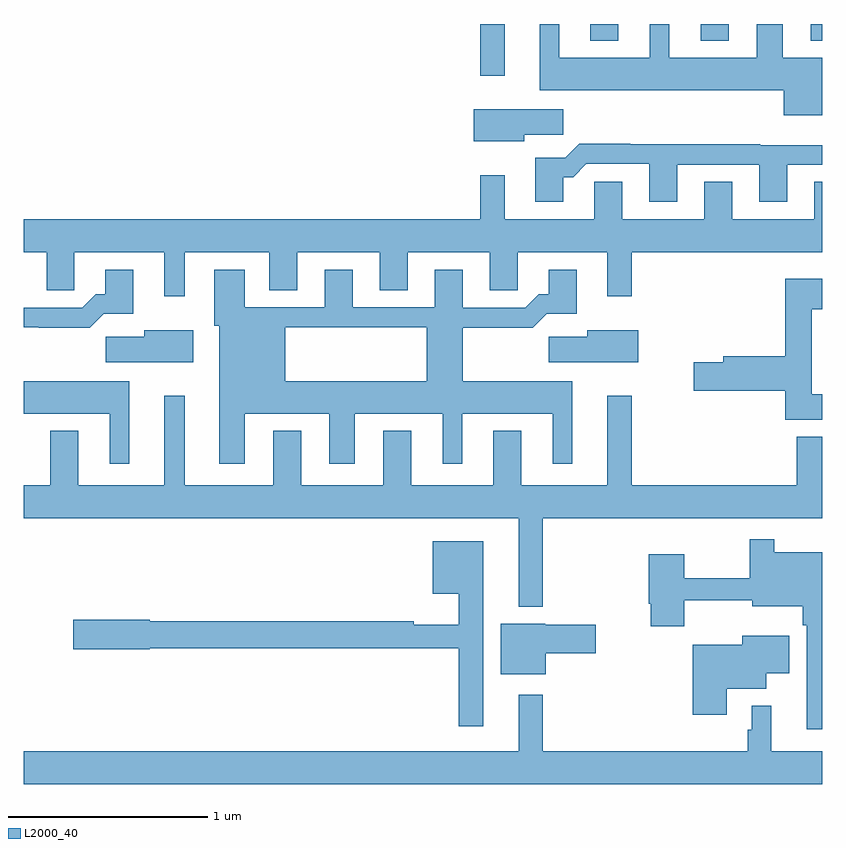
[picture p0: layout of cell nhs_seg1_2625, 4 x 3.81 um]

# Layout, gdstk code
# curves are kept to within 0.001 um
import gdstk
lib = gdstk.Library(unit=1e-6, precision=1e-09)
def R(c, l, rs):  # rectangles x0, y0, x1, y1
    for r in rs: c.add(gdstk.rectangle(r[:2], r[2:], *l))
def P(c, l, *ps):  # polygons
    for p in ps: c.add(gdstk.Polygon(p, *l))
L2000_40 = (2000, 40)

nhs_seg1_2625 = lib.new_cell('nhs_seg1_2625')
R(nhs_seg1_2625, L2000_40, [(255.288,561.939,255.409,562.199), (255.839,562.115,255.979,562.199), (256.391,562.115,256.531,562.199), (256.943,562.115,257,562.199)])
P(nhs_seg1_2625, L2000_40, [(257,562.03),(256.801,562.03),(256.801,562.199),(256.673,562.199),(256.673,562.03),(256.234,562.03),(256.234,562.199),(256.136,562.199),(256.136,562.03),(255.682,562.03),(255.682,562.199),(255.584,562.199),(255.584,561.866),(256.808,561.866),(256.808,561.743),(257,561.743)],
  [(255.508,561.643),(255.703,561.643),(255.703,561.772),(255.254,561.772),(255.254,561.611),(255.508,561.611)],
  [(255.703,561.431),(255.752,561.431),(255.819,561.498),(256.133,561.498),(256.133,561.309),(256.273,561.309),(256.273,561.495),(256.685,561.495),(256.685,561.309),(256.825,561.309),(256.825,561.495),(257,561.495),(257,561.592),(256.689,561.592),(256.689,561.596),(256.037,561.596),(256.037,561.599),(255.782,561.599),(255.712,561.529),(255.563,561.529),(255.563,561.309),(255.703,561.309)],
  [(253.807,561.056),(254.231,561.056),(254.231,560.866),(254.371,560.866),(254.371,561.056),(254.783,561.056),(254.783,560.866),(254.923,560.866),(254.923,561.056),(255.335,561.056),(255.335,560.866),(255.474,560.866),(255.474,561.056),(255.923,561.056),(255.923,560.835),(256.045,560.835),(256.045,561.056),(257,561.056),(257,561.41),(256.961,561.41),(256.961,561.22),(256.549,561.22),(256.549,561.41),(256.409,561.41),(256.409,561.22),(255.997,561.22),(255.997,561.41),(255.858,561.41),(255.858,561.22),(255.409,561.22),(255.409,561.442),(255.288,561.442),(255.288,561.22),(253,561.22),(253,561.056),(253.115,561.056),(253.115,560.866),(253.254,560.866),(253.254,561.056),(253.703,561.056),(253.703,560.835),(253.807,560.835)],
  [(254.107,559.995),(254.107,560.246),(254.531,560.246),(254.531,559.995),(254.659,559.995),(254.659,560.246),(255.098,560.246),(255.098,559.995),(255.196,559.995),(255.196,560.246),(255.65,560.246),(255.65,559.995),(255.748,559.995),(255.748,560.41),(255.198,560.41),(255.198,560.678),(255.551,560.678),(255.62,560.747),(255.769,560.747),(255.769,560.968),(255.629,560.968),(255.629,560.845),(255.58,560.845),(255.513,560.778),(255.199,560.778),(255.199,560.968),(255.059,560.968),(255.059,560.781),(254.647,560.781),(254.647,560.968),(254.507,560.968),(254.507,560.781),(254.107,560.781),(254.107,560.968),(253.955,560.968),(253.955,560.688),(253.979,560.688),(253.979,560.41),(254.311,560.41),(254.311,560.68),(255.02,560.68),(255.02,560.41),(253.979,560.41),(253.979,559.995)],
  [(253.4,560.747),(253.549,560.747),(253.549,560.968),(253.409,560.968),(253.409,560.845),(253.36,560.845),(253.293,560.778),(253,560.778),(253,560.68),(253.075,560.68),(253.075,560.678),(253.331,560.678)],
  [(257,560.344),(256.948,560.344),(256.948,560.771),(257,560.771),(257,560.923),(256.814,560.923),(256.814,560.534),(256.505,560.534),(256.505,560.504),(256.356,560.504),(256.356,560.362),(256.814,560.362),(256.814,560.216),(257,560.216)],
  [(256.078,560.665),(255.824,560.665),(255.824,560.633),(255.63,560.633),(255.63,560.504),(256.078,560.504)],
  [(253.849,560.665),(253.604,560.665),(253.604,560.633),(253.41,560.633),(253.41,560.504),(253.849,560.504)],
  [(253.528,560.41),(253,560.41),(253,560.246),(253.43,560.246),(253.43,559.995),(253.528,559.995)],
  [(255.479,559.28),(255.601,559.28),(255.601,559.724),(257,559.724),(257,560.131),(256.871,560.131),(256.871,559.888),(256.045,559.888),(256.045,560.338),(255.923,560.338),(255.923,559.888),(255.493,559.888),(255.493,560.161),(255.353,560.161),(255.353,559.888),(254.941,559.888),(254.941,560.161),(254.801,560.161),(254.801,559.888),(254.389,559.888),(254.389,560.161),(254.249,560.161),(254.249,559.888),(253.807,559.888),(253.807,560.338),(253.703,560.338),(253.703,559.888),(253.273,559.888),(253.273,560.161),(253.133,560.161),(253.133,559.888),(253,559.888),(253,559.724),(255.479,559.724)],
  [(257,559.552),(256.759,559.552),(256.759,559.618),(256.638,559.618),(256.638,559.423),(256.308,559.423),(256.308,559.543),(256.13,559.543),(256.13,559.294),(256.142,559.294),(256.142,559.182),(256.308,559.182),(256.308,559.312),(256.649,559.312),(256.649,559.283),(256.903,559.283),(256.903,559.187),(256.923,559.187),(256.923,558.666),(257,558.666)],
  [(255.301,559.609),(255.05,559.609),(255.05,559.346),(255.18,559.346),(255.18,559.189),(254.954,559.189),(254.954,559.208),(253.632,559.208),(253.632,559.214),(253.248,559.214),(253.248,559.067),(253.632,559.067),(253.632,559.072),(255.18,559.072),(255.18,558.681),(255.301,558.681)],
  [(255.616,559.048),(255.865,559.048),(255.865,559.19),(255.612,559.19),(255.612,559.195),(255.389,559.195),(255.389,558.941),(255.616,558.941)],
  [(256.522,558.869),(256.72,558.869),(256.72,558.947),(256.834,558.947),(256.834,559.135),(256.598,559.135),(256.598,559.09),(256.352,559.09),(256.352,558.738),(256.522,558.738)],
  [(257,558.556),(256.745,558.556),(256.745,558.784),(256.647,558.784),(256.647,558.663),(256.627,558.663),(256.627,558.556),(255.601,558.556),(255.601,558.838),(255.479,558.838),(255.479,558.556),(253,558.556),(253,558.392),(257,558.392)])

lib.write_gds('nhs_seg1_2625.gds')
